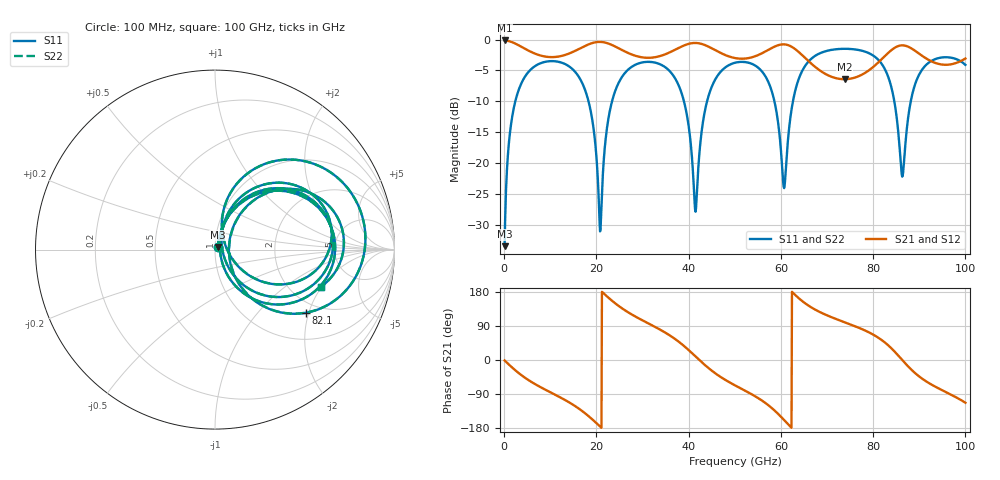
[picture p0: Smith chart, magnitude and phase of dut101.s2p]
! Touchstone file exported from HFSS 2026.1.0
!  File:  C:/ffzhzh/LocalFiles/Ansys_Project_Files/temp_train_TSV_RDL_101_1783633217_33328.aedt
!  Generated:  05:48:21 AM Jul 10, 2026
!  Design:  TSV_RDL
!  Project:  temp_train_TSV_RDL_101_1783633217_33328
! Variables:
!  h_bsmrdl = 4.54um
!  h_ox = 20um
!  h_rdl = 5um
!  h_sub = 56.26um
!  h_tmrdl = 4.99um
!  h_tsv = 56.26um
!  h_via = 3um
!  l_bsmrdl = 450.52um
!  l_sub = 3024.39um
!  l_tmrdl = 295.67um
!  m_sub = 200um
!  pitch = 58.53um
!  r_tsv = 5.69um
!  s_tmrdl = 10um
!  w_bsmrdl = 19.36um
!  w_sub = 500um
!  w_tmrdl = 10.69um
!  x_tsv_center1 = 301.015um
!  x_tsv_center2 = 770.895um
!  x_tsv_center3 = 1077.255um
!  x_tsv_center4 = 1547.135um
!  x_tsv_center5 = 1853.495um
!  x_tsv_center6 = 2323.375um
# GHz S MA R 50.000000
! Terminal data exported
! Port[1] = TM_RDL1_1_T1
! Port[2] = TM_RDL5_1_T1
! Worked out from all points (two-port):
!   1000 points, 100 MHz to 100 GHz, reference 50 ohm
!   highest |S21| = -0.13 dB at 100 MHz (marker M1); lowest = -6.4 dB at 73.8 GHz (marker M2)
!   |S21| within 3 dB of the highest: start of sweep to 65.49 GHz; 81.9 GHz to 91.68 GHz (9.776 GHz wide, 11.3 % of centre) (the widest 2 of 3)
!   lowest |S11| = -33.5 dB at 100 MHz (marker M3), VSWR 1.04, Z = 51.6 + j1.48 ohm
!   |S11| at or under -10 dB: 18.29 GHz to 23.39 GHz (5.099 GHz wide, 24.5 % of centre); 38.98 GHz to 43.99 GHz (5.011 GHz wide, 12.1 % of centre); 58.6 GHz to 62.61 GHz (4.014 GHz wide, 6.62 % of centre) (the widest 3 of 5)
!   |S22| runs from -33.5 to -1.5 dB; largest |S21 - S12| = 2.2e-14
!   S11 on the Smith chart (normalised r, x): 100 MHz: 1.03, +0.03; 82.1 GHz: 1.68, -1.91; 100 GHz: 2.86, -1.96
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0.1  0.02118 42.7  0.9846 -1.2  0.9846 -1.2  0.02118 42.7
! Gamma 0 0 0 0
! Port Impedance 50 0 50 0
1.5  0.2067 67.7  0.9604 -17.3  0.9604 -17.3  0.2067 67.7
4.2  0.4788 43.3  0.8561 -44.1  0.8561 -44.1  0.4788 43.3
10.5  0.6695 0.7  0.7215 -88.2  0.7215 -88.2  0.6695 0.7
16.8  0.4546 -42.3  0.8616 -133.6  0.8616 -133.6  0.4546 -42.3
20.8  0.02792 -4.2  0.9584 -175.5  0.9584 -175.5  0.0278 -4.3
24.4  0.4122 52.5  0.8672 146.5  0.8672 146.5  0.4122 52.5
33.4  0.6401 -7.0  0.729 82.9  0.729 82.9  0.6401 -7.0
38.7  0.3455 -45.1  0.8867 40.0  0.8867 40.0  0.3456 -45.1
41.5  0.04031 10.7  0.9396 9.3  0.9396 9.3  0.04069 10.5
44.4  0.3581 61.5  0.8738 -22.2  0.8738 -22.2  0.3581 61.5
50.1  0.6502 21.5  0.7084 -67.2  0.7084 -67.2  0.6501 21.5
57.3  0.4517 -24.9  0.8271 -119.5  0.8271 -119.5  0.4516 -24.8
60.7  0.06252 21.7  0.9152 -158.4  0.9152 -158.4  0.06332 21.9
63  0.371 72.6  0.8432 172.8  0.8432 172.8  0.3713 72.5
66.7  0.7056 44.1  0.6337 138.0  0.6337 138.0  0.7057 44.1
73.8  0.8427 9.1  0.4777 99.7  0.4777 99.7  0.8427 9.1
82.1  0.6159 -34.9  0.7088 50.4  0.7088 50.4  0.6159 -34.8
83.4  0.483 -45.3  0.7887 37.3  0.7887 37.3  0.4831 -45.2
86.3  0.07749 -3.2  0.8988 0.1  0.8988 0.1  0.07901 -3.0
90.4  0.5554 37.4  0.7492 -47.3  0.7492 -47.3  0.5556 37.3
100  0.6241 -19.6  0.7027 -112.8  0.7027 -112.8  0.6244 -19.4
